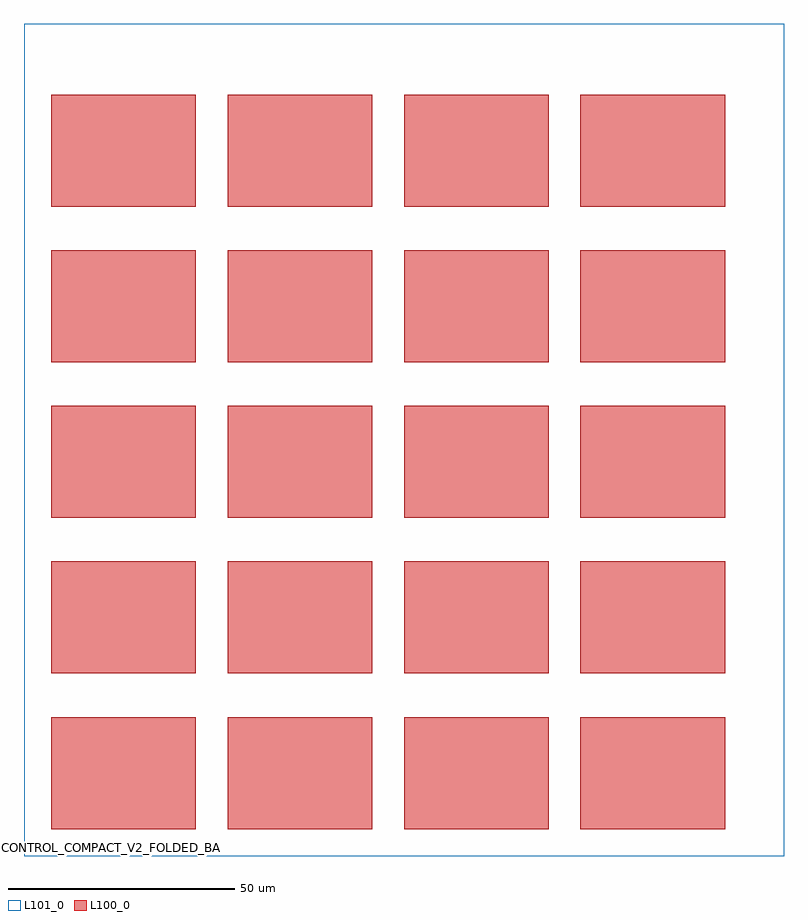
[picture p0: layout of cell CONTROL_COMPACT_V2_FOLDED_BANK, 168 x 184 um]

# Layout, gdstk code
import gdstk
lib = gdstk.Library(unit=1e-6, precision=1e-09)
def R(c, l, rs):  # rectangles x0, y0, x1, y1
    for r in rs: c.add(gdstk.rectangle(r[:2], r[2:], *l))
def A(c, l, x, y, w, h, nx, ny, dx, dy):  # array of equal rectangles
    R(c, l, [(x+i*dx, y+j*dy, x+i*dx+w, y+j*dy+h) for i in range(nx) for j in range(ny)])
L100_0 = (100, 0)
L101_0 = (101, 0)

control_compact_v2_folde = lib.new_cell('CONTROL_COMPACT_V2_FOLDED_BANK')
A(control_compact_v2_folde, L100_0, 6, 6, 31.98, 24.768, 4, 5, 39, 34.4)
R(control_compact_v2_folde, L101_0, [(0,0,168,184)])
control_compact_v2_folde.add(gdstk.Label('CONTROL_COMPACT_V2_FOLDED_BANK', (2,2), layer=11, texttype=2))

lib.write_gds('CONTROL_COMPACT_V2_FOLDED_BANK.gds')
